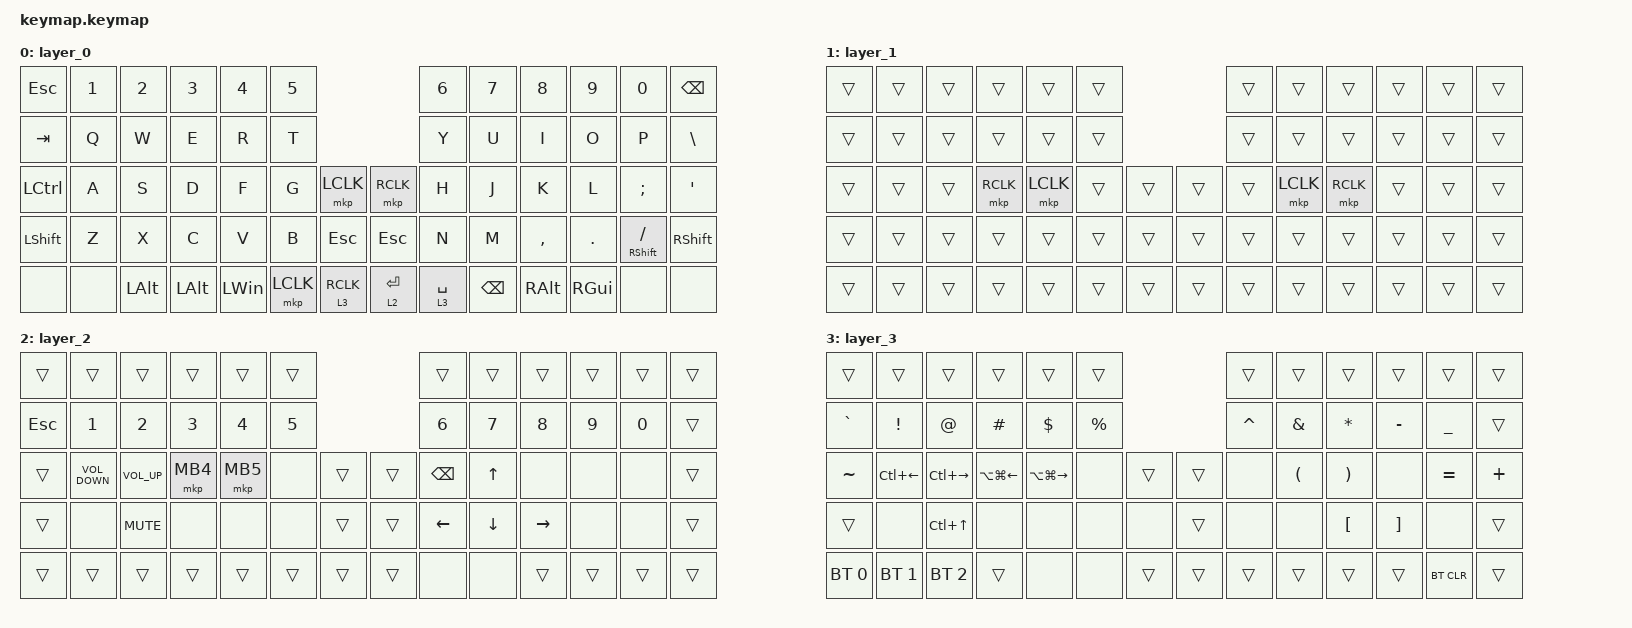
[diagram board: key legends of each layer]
#include <behaviors.dtsi>
#include <dt-bindings/zmk/bt.h>
#include <dt-bindings/zmk/keys.h>
#include <dt-bindings/zmk/pointing.h>

/ {
    combos {
        compatible = "zmk,combos";

        bt_clear {
            bindings = <&bt BT_CLR>;
            key-positions = <28 29>;
            layers = <2>;
        };
    };

    behaviors {
        lt_mouse: lt_mouse {
            compatible = "zmk,behavior-hold-tap";
            label = "LT_MOUSE";
            #binding-cells = <2>;
            bindings = <&mo>, <&mkp>;

            tapping-term-ms = <200>;
        };
    };

    keymap {
        compatible = "zmk,keymap";

        layer_0 {
            bindings = <
&kp ESC    &kp N1  &kp N2        &kp N3    &kp N4        &kp N5                                    &kp N6       &kp N7    &kp N8     &kp N9    &kp N0                &kp BSPC
&kp TAB    &kp Q   &kp W         &kp E     &kp R         &kp T                                     &kp Y        &kp U     &kp I      &kp O     &kp P                 &kp BACKSLASH
&kp LCTRL  &kp A   &kp S         &kp D     &kp F         &kp G      &mkp LCLK         &mkp RCLK    &kp H        &kp J     &kp K      &kp L     &kp SEMI              &kp SQT
&kp LSHFT  &kp Z   &kp X         &kp C     &kp V         &kp B      &kp ESCAPE        &kp ESCAPE   &kp N        &kp M     &kp COMMA  &kp DOT   &mt RIGHT_SHIFT FSLH  &kp RSHFT
&none      &none   &kp LEFT_ALT  &kp LALT  &kp LEFT_WIN  &mkp LCLK  &lt_mouse 3 RCLK  &lt 2 ENTER  &lt 3 SPACE  &kp BSPC  &kp RALT   &kp RGUI  &none                 &none
            >;
        };

        layer_1 {
            bindings = <
&trans  &trans  &trans  &trans     &trans     &trans                  &trans  &trans     &trans     &trans  &trans  &trans
&trans  &trans  &trans  &trans     &trans     &trans                  &trans  &trans     &trans     &trans  &trans  &trans
&trans  &trans  &trans  &mkp RCLK  &mkp LCLK  &trans  &trans  &trans  &trans  &mkp LCLK  &mkp RCLK  &trans  &trans  &trans
&trans  &trans  &trans  &trans     &trans     &trans  &trans  &trans  &trans  &trans     &trans     &trans  &trans  &trans
&trans  &trans  &trans  &trans     &trans     &trans  &trans  &trans  &trans  &trans     &trans     &trans  &trans  &trans
            >;
        };

        layer_2 {
            bindings = <
&trans      &trans             &trans           &trans    &trans    &trans                  &trans         &trans        &trans     &trans  &trans  &trans
&kp ESCAPE  &kp NUMBER_1       &kp NUMBER_2     &kp N3    &kp N4    &kp N5                  &kp N6         &kp N7        &kp N8     &kp N9  &kp N0  &trans
&trans      &kp C_VOLUME_DOWN  &kp C_VOLUME_UP  &mkp MB4  &mkp MB5  &none   &trans  &trans  &kp BACKSPACE  &kp UP_ARROW  &none      &none   &none   &trans
&trans      &none              &kp K_MUTE       &none     &none     &none   &trans  &trans  &kp LEFT       &kp DOWN      &kp RIGHT  &none   &none   &trans
&trans      &trans             &trans           &trans    &trans    &trans  &trans  &trans  &none          &none         &trans     &trans  &trans  &trans
            >;
        };

        layer_3 {
            bindings = <
&trans        &trans        &trans            &trans            &trans             &trans                       &trans     &trans                &trans                 &trans             &trans      &trans
&kp GRAVE     &kp EXCL      &kp AT            &kp HASH          &kp DOLLAR         &kp PERCENT                  &kp CARET  &kp AMPERSAND         &kp STAR               &kp MINUS          &kp UNDER   &trans
&kp TILDE     &kp LC(LEFT)  &kp LC(RIGHT)     &kp LA(LG(LEFT))  &kp LA(LG(RIGHT))  &none        &trans  &trans  &none      &kp LEFT_PARENTHESIS  &kp RIGHT_PARENTHESIS  &none              &kp EQUAL   &kp PLUS
&trans        &none         &kp LC(UP_ARROW)  &none             &none              &none        &none   &trans  &none      &none                 &kp LEFT_BRACKET       &kp RIGHT_BRACKET  &none       &trans
&bt BT_SEL 0  &bt BT_SEL 1  &bt BT_SEL 2      &trans            &none              &none        &trans  &trans  &trans     &trans                &trans                 &trans             &bt BT_CLR  &trans
            >;
        };
    };
};
